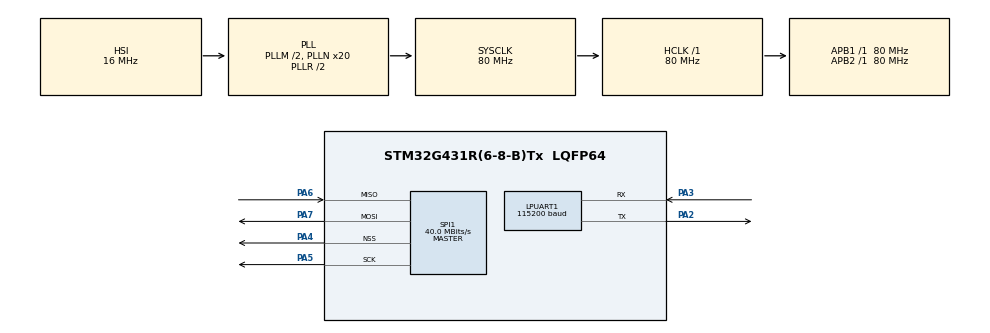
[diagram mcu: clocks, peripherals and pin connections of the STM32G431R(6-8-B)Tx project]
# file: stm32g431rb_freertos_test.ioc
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Dma.Request0=SPI1_RX
Dma.Request1=SPI1_TX
Dma.SPI1_RX.0.Direction=DMA_PERIPH_TO_MEMORY
Dma.SPI1_RX.0.EventEnable=DISABLE
Dma.SPI1_RX.0.Instance=DMA1_Channel1
Dma.SPI1_RX.0.MemDataAlignment=DMA_MDATAALIGN_BYTE
Dma.SPI1_RX.0.MemInc=DMA_MINC_ENABLE
Dma.SPI1_RX.0.Mode=DMA_NORMAL
Dma.SPI1_RX.0.PeriphDataAlignment=DMA_PDATAALIGN_BYTE
Dma.SPI1_RX.0.PeriphInc=DMA_PINC_DISABLE
Dma.SPI1_RX.0.Polarity=HAL_DMAMUX_REQ_GEN_RISING
Dma.SPI1_RX.0.Priority=DMA_PRIORITY_MEDIUM
Dma.SPI1_RX.0.RequestNumber=1
Dma.SPI1_RX.0.SignalID=NONE
Dma.SPI1_RX.0.SyncEnable=DISABLE
Dma.SPI1_RX.0.SyncPolarity=HAL_DMAMUX_SYNC_NO_EVENT
Dma.SPI1_RX.0.SyncRequestNumber=1
Dma.SPI1_RX.0.SyncSignalID=NONE
Dma.SPI1_TX.1.Direction=DMA_MEMORY_TO_PERIPH
Dma.SPI1_TX.1.EventEnable=DISABLE
Dma.SPI1_TX.1.Instance=DMA1_Channel2
Dma.SPI1_TX.1.MemDataAlignment=DMA_MDATAALIGN_BYTE
Dma.SPI1_TX.1.MemInc=DMA_MINC_ENABLE
Dma.SPI1_TX.1.Mode=DMA_NORMAL
Dma.SPI1_TX.1.PeriphDataAlignment=DMA_PDATAALIGN_BYTE
Dma.SPI1_TX.1.PeriphInc=DMA_PINC_DISABLE
Dma.SPI1_TX.1.Polarity=HAL_DMAMUX_REQ_GEN_RISING
Dma.SPI1_TX.1.Priority=DMA_PRIORITY_LOW
Dma.SPI1_TX.1.RequestNumber=1
Dma.SPI1_TX.1.SignalID=NONE
Dma.SPI1_TX.1.SyncEnable=DISABLE
Dma.SPI1_TX.1.SyncPolarity=HAL_DMAMUX_SYNC_NO_EVENT
Dma.SPI1_TX.1.SyncRequestNumber=1
Dma.SPI1_TX.1.SyncSignalID=NONE
FREERTOS.Queues01=myQueue01,16,uint16_t,0,Dynamic,NULL,NULL
FREERTOS.Tasks01=defaultTask,32,128,StartDefaultTask,Default,NULL,Dynamic,NULL,NULL;myTask02,24,128,StartTask02,Default,NULL,Dynamic,NULL,NULL
LPUART1.BaudRate=115200
Mcu.Family=STM32G4
Mcu.Name=STM32G431R(6-8-B)Tx
Mcu.Package=LQFP64
NVIC.DMA1_Channel1_IRQn=true\:5\:0\:false\:false\:true\:true\:false\:true
NVIC.DMA1_Channel2_IRQn=true\:5\:0\:false\:false\:true\:true\:false\:true
NVIC.PriorityGroup=NVIC_PRIORITYGROUP_4
NVIC.TIM7_IRQn=true\:0\:0\:false\:false\:true\:false\:false\:true
NVIC.TimeBase=TIM7_IRQn
NVIC.TimeBaseIP=TIM7
PA2.Mode=Asynchronous
PA2.Signal=LPUART1_TX
PA3.Mode=Asynchronous
PA3.Signal=LPUART1_RX
PA4.GPIO_Speed=GPIO_SPEED_FREQ_VERY_HIGH
PA4.Mode=NSS_Signal_Hard_Output
PA4.Signal=SPI1_NSS
PA5.GPIO_Speed=GPIO_SPEED_FREQ_VERY_HIGH
PA5.Mode=Full_Duplex_Master
PA5.Signal=SPI1_SCK
PA6.GPIO_Speed=GPIO_SPEED_FREQ_VERY_HIGH
PA6.Mode=Full_Duplex_Master
PA6.Signal=SPI1_MISO
PA7.GPIO_Speed=GPIO_SPEED_FREQ_VERY_HIGH
PA7.Mode=Full_Duplex_Master
PA7.Signal=SPI1_MOSI
ProjectManager.HeapSize=0x200
ProjectManager.StackSize=0x400
ProjectManager.TargetToolchain=STM32CubeIDE
RCC.ADC12Freq_Value=80000000
RCC.AHBFreq_Value=80000000
RCC.APB1Freq_Value=80000000
RCC.APB1TimFreq_Value=80000000
RCC.APB2Freq_Value=80000000
RCC.APB2TimFreq_Value=80000000
RCC.CortexFreq_Value=80000000
RCC.EXTERNAL_CLOCK_VALUE=12288000
RCC.HCLKFreq_Value=80000000
RCC.HSE_VALUE=8000000
RCC.HSI48_VALUE=48000000
RCC.HSI_VALUE=16000000
RCC.LSE_VALUE=32768
RCC.PLLM=RCC_PLLM_DIV2
RCC.PLLN=20
RCC.SYSCLKFreq_VALUE=80000000
RCC.SYSCLKSource=RCC_SYSCLKSOURCE_PLLCLK
RCC.USBFreq_Value=80000000
RCC.VCOOutputFreq_Value=160000000
SPI1.BaudRatePrescaler=SPI_BAUDRATEPRESCALER_2
SPI1.CalculateBaudRate=40.0 MBits/s
SPI1.DataSize=SPI_DATASIZE_8BIT
SPI1.Direction=SPI_DIRECTION_2LINES
SPI1.Mode=SPI_MODE_MASTER
SPI1.VirtualNSS=VM_NSSHARD
SPI1.VirtualType=VM_MASTER
VP_FREERTOS_VS_CMSIS_V2.Mode=CMSIS_V2
VP_SYS_VS_DBSignals.Mode=DisableDeadBatterySignals
VP_SYS_VS_tim7.Mode=TIM7
board=custom

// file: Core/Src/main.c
/* USER CODE BEGIN Header */
/**
  ******************************************************************************
  * @file           : main.c
  * @brief          : Main program body
  ******************************************************************************
  * @attention
  *
  * <h2><center>&copy; Copyright (c) 2020 STMicroelectronics.
  * All rights reserved.</center></h2>
  *
  * This software component is licensed by ST under BSD 3-Clause license,
  * the "License"; You may not use this file except in compliance with the
  * License. You may obtain a copy of the License at:
  *                        opensource.org/licenses/BSD-3-Clause
  *
  ******************************************************************************
  */
/* USER CODE END Header */

#include "main.h"
#include "cmsis_os.h"
#include "dma.h"
#include "usart.h"
#include "spi.h"
#include "gpio.h"

/* USER CODE BEGIN Includes */
#include <stdio.h>
/* USER CODE END Includes */

void SystemClock_Config(void);
void MX_FREERTOS_Init(void);

/* USER CODE BEGIN 0 */
int _write(int file, char *data, int len)
{
  HAL_StatusTypeDef status = HAL_UART_Transmit(&hlpuart1, (uint8_t*)data, len, 1000);
  return (status == HAL_OK ? len : 0);
}
/* USER CODE END 0 */

int main(void)
{

  /* MCU Configuration--------------------------------------------------------*/

  /* Reset of all peripherals, Initializes the Flash interface and the Systick. */
  HAL_Init();

  /* Configure the system clock */
  SystemClock_Config();

  /* Initialize all configured peripherals */
  MX_GPIO_Init();
  MX_DMA_Init();
  MX_SPI1_Init();
  MX_LPUART1_UART_Init();
  /* USER CODE BEGIN 2 */
  printf("Hello World!!\r\n");
  /* USER CODE END 2 */

  /* Init scheduler */
  osKernelInitialize();  /* Call init function for freertos objects (in freertos.c) */
  MX_FREERTOS_Init();
  /* Start scheduler */
  osKernelStart();

  /* We should never get here as control is now taken by the scheduler */
  /* Infinite loop */
  while (1)
  {

  }
}

void SystemClock_Config(void)
{
  RCC_OscInitTypeDef RCC_OscInitStruct = {0};
  RCC_ClkInitTypeDef RCC_ClkInitStruct = {0};
  RCC_PeriphCLKInitTypeDef PeriphClkInit = {0};

  /** Configure the main internal regulator output voltage
  */
  HAL_PWREx_ControlVoltageScaling(PWR_REGULATOR_VOLTAGE_SCALE1);
  /** Initializes the CPU, AHB and APB busses clocks
  */
  RCC_OscInitStruct.OscillatorType = RCC_OSCILLATORTYPE_HSI;
  RCC_OscInitStruct.HSIState = RCC_HSI_ON;
  RCC_OscInitStruct.HSICalibrationValue = RCC_HSICALIBRATION_DEFAULT;
  RCC_OscInitStruct.PLL.PLLState = RCC_PLL_ON;
  RCC_OscInitStruct.PLL.PLLSource = RCC_PLLSOURCE_HSI;
  RCC_OscInitStruct.PLL.PLLM = RCC_PLLM_DIV2;
  RCC_OscInitStruct.PLL.PLLN = 20;
  RCC_OscInitStruct.PLL.PLLP = RCC_PLLP_DIV2;
  RCC_OscInitStruct.PLL.PLLQ = RCC_PLLQ_DIV2;
  RCC_OscInitStruct.PLL.PLLR = RCC_PLLR_DIV2;
  if (HAL_RCC_OscConfig(&RCC_OscInitStruct) != HAL_OK)
  {
    Error_Handler();
  }
  /** Initializes the CPU, AHB and APB busses clocks
  */
  RCC_ClkInitStruct.ClockType = RCC_CLOCKTYPE_HCLK|RCC_CLOCKTYPE_SYSCLK
                              |RCC_CLOCKTYPE_PCLK1|RCC_CLOCKTYPE_PCLK2;
  RCC_ClkInitStruct.SYSCLKSource = RCC_SYSCLKSOURCE_PLLCLK;
  RCC_ClkInitStruct.AHBCLKDivider = RCC_SYSCLK_DIV1;
  RCC_ClkInitStruct.APB1CLKDivider = RCC_HCLK_DIV1;
  RCC_ClkInitStruct.APB2CLKDivider = RCC_HCLK_DIV1;

  if (HAL_RCC_ClockConfig(&RCC_ClkInitStruct, FLASH_LATENCY_3) != HAL_OK)
  {
    Error_Handler();
  }
  /** Initializes the peripherals clocks
  */
  PeriphClkInit.PeriphClockSelection = RCC_PERIPHCLK_LPUART1;
  PeriphClkInit.Lpuart1ClockSelection = RCC_LPUART1CLKSOURCE_PCLK1;
  if (HAL_RCCEx_PeriphCLKConfig(&PeriphClkInit) != HAL_OK)
  {
    Error_Handler();
  }
}

 /**
  * @brief  Period elapsed callback in non blocking mode
  * @note   This function is called  when TIM7 interrupt took place, inside
  * HAL_TIM_IRQHandler(). It makes a direct call to HAL_IncTick() to increment
  * a global variable "uwTick" used as application time base.
  * @param  htim : TIM handle
  * @retval None
  */
void HAL_TIM_PeriodElapsedCallback(TIM_HandleTypeDef *htim)
{
  if (htim->Instance == TIM7) {
    HAL_IncTick();
  }
}

void Error_Handler(void)
{
}

/************************ (C) COPYRIGHT STMicroelectronics *****END OF FILE****/

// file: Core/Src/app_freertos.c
/* USER CODE BEGIN Header */
/**
  ******************************************************************************
  * File Name          : app_freertos.c
  * Description        : Code for freertos applications
  ******************************************************************************
  * @attention
  *
  * <h2><center>&copy; Copyright (c) 2020 STMicroelectronics.
  * All rights reserved.</center></h2>
  *
  * This software component is licensed by ST under Ultimate Liberty license
  * SLA0044, the "License"; You may not use this file except in compliance with
  * the License. You may obtain a copy of the License at:
  *                             www.st.com/SLA0044
  *
  ******************************************************************************
  */
/* USER CODE END Header */

#include "FreeRTOS.h"
#include "task.h"
#include "main.h"
#include "cmsis_os.h"

/* USER CODE BEGIN Includes */
#include <stdio.h>
/* USER CODE END Includes */

/* Definitions for defaultTask */
osThreadId_t defaultTaskHandle;
const osThreadAttr_t defaultTask_attributes = {
  .name = "defaultTask",
  .priority = (osPriority_t) osPriorityAboveNormal,
  .stack_size = 128 * 4
};
/* Definitions for myTask02 */
osThreadId_t myTask02Handle;
const osThreadAttr_t myTask02_attributes = {
  .name = "myTask02",
  .priority = (osPriority_t) osPriorityNormal,
  .stack_size = 128 * 4
};
/* Definitions for myQueue01 */
osMessageQueueId_t myQueue01Handle;
const osMessageQueueAttr_t myQueue01_attributes = {
  .name = "myQueue01"
};

/* USER CODE BEGIN FunctionPrototypes */
#define debug(msg, ...) printf("%s:%d:" msg "\r\n", __FILE__, __LINE__, ## __VA_ARGS__)

#define SWAP(a, b, type) do{ \
                          type temp; \
                          temp = a;  \
                          a = b;     \
                          b = temp;  \
                         }while (0)
/* USER CODE END FunctionPrototypes */

void StartDefaultTask(void *argument);
void StartTask02(void *argument);

void MX_FREERTOS_Init(void); /* (MISRA C 2004 rule 8.1) */

void MX_FREERTOS_Init(void) {

  /* Create the queue(s) */
  /* creation of myQueue01 */
  myQueue01Handle = osMessageQueueNew (16, sizeof(uint16_t), &myQueue01_attributes);

  /* Create the thread(s) */
  /* creation of defaultTask */
  defaultTaskHandle = osThreadNew(StartDefaultTask, NULL, &defaultTask_attributes);

  /* creation of myTask02 */
  myTask02Handle = osThreadNew(StartTask02, NULL, &myTask02_attributes);

}

/* USER CODE BEGIN Header_StartDefaultTask */
/**
  * @brief  Function implementing the defaultTask thread.
  * @param  argument: Not used
  * @retval None
  */
#define SPI_DATA_MAX (10)
static uint8_t tx_data[SPI_DATA_MAX];
static uint8_t rx_data[SPI_DATA_MAX];
static uint8_t q_data[SPI_DATA_MAX];

extern SPI_HandleTypeDef hspi1;
extern DMA_HandleTypeDef hdma_spi1_rx;
extern DMA_HandleTypeDef hdma_spi1_tx;
/* USER CODE END Header_StartDefaultTask */
void StartDefaultTask(void *argument)
{
  /* USER CODE BEGIN StartDefaultTask */
  uint8_t event = 0x00;
  static int event_i = 0;
  uint32_t seq = 0;
  /* Infinite loop */
  for(;;)
  {
    if(osMessageQueueGet(myQueue01Handle, &event, NULL, 1000) == osOK)
    {
      q_data[event_i++] = event;
      debug("O.K Default Taske Test time = %d, %s", (int)seq++, "is over");
    }
    else
    {
      debug("Time Out Default Taske Test time = %d, %s", (int)seq++, "is over");
    }

    if(event_i > 9)
      event_i = 0;

    //osDelay(1000);
  }
  /* USER CODE END StartDefaultTask */
}

void StartTask02(void *argument)
{
  /* USER CODE BEGIN StartTask02 */
  uint32_t seq = 0;
  /* Infinite loop */
  for(;;)
  {
    debug("Start Taske Test time = %d, %s", (int)seq++, "is over");
    osDelay(100);
    //HAL_SPI_TransmitReceive_DMA(&hspi1, tx_data, rx_data, SPI_DATA_MAX);
  }
  /* USER CODE END StartTask02 */
}

/* USER CODE BEGIN Application */
void HAL_SPI_TxRxCpltCallback(SPI_HandleTypeDef *hspi)
{
  if(hspi == &hspi1)
  {
    for(int i=0; i<SPI_DATA_MAX; i++)
      osMessageQueuePut(myQueue01Handle, (uint8_t *)&rx_data[i], 0, 0);
  }
}
/* USER CODE END Application */

/************************ (C) COPYRIGHT STMicroelectronics *****END OF FILE****/
